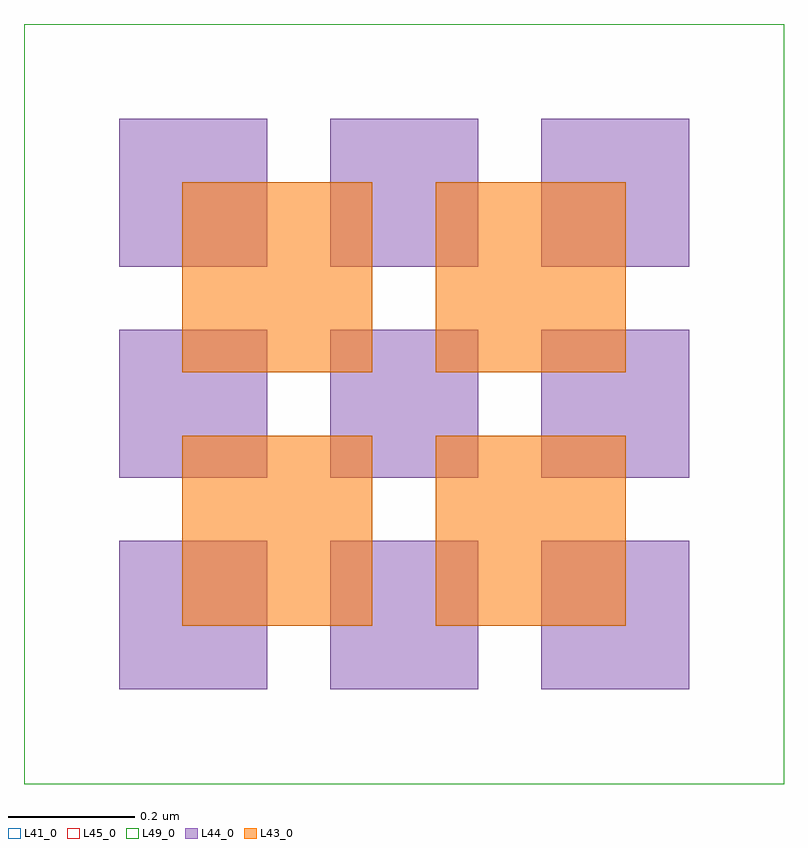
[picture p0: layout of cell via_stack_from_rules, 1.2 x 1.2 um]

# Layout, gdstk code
import gdstk
lib = gdstk.Library(unit=1e-6, precision=1e-09)
def R(c, l, rs):  # rectangles x0, y0, x1, y1
    for r in rs: c.add(gdstk.rectangle(r[:2], r[2:], *l))
L41_0 = (41, 0)
L43_0 = (43, 0)
L44_0 = (44, 0)
L45_0 = (45, 0)
L49_0 = (49, 0)

compass_layerm1_size1p2_ = lib.new_cell('compass_layerM1_size1p2__1p2')
R(compass_layerm1_size1p2_, L41_0, [(-0.6,-0.6,0.6,0.6)])

compass_layerm2_size1p2_ = lib.new_cell('compass_layerM2_size1p2__1p2')
R(compass_layerm2_size1p2_, L45_0, [(-0.6,-0.6,0.6,0.6)])

compass_layermtop_size1p = lib.new_cell('compass_layerMTOP_size1p2__1p2')
R(compass_layermtop_size1p, L49_0, [(-0.6,-0.6,0.6,0.6)])

via_7e75779b = lib.new_cell('via_7e75779b')
R(via_7e75779b, L44_0, [(-0.117,-0.117,0.117,0.117)])

via_d58be9df = lib.new_cell('via_d58be9df')
R(via_d58be9df, L43_0, [(-0.15,-0.15,0.15,0.15)])

via_stack_from_rules = lib.new_cell('via_stack_from_rules')
via_stack_from_rules.add(gdstk.Reference(compass_layerm1_size1p2_, (0,0)))
via_stack_from_rules.add(gdstk.Reference(compass_layerm2_size1p2_, (0,0)))
via_stack_from_rules.add(gdstk.Reference(compass_layermtop_size1p, (0,0)))
r = gdstk.Reference(via_7e75779b, (-0.333,-0.333)); r.repetition = gdstk.Repetition(3, 3, v1=(0.3333,0), v2=(0,0.3333)); via_stack_from_rules.add(r)
r = gdstk.Reference(via_d58be9df, (-0.2,-0.2)); r.repetition = gdstk.Repetition(2, 2, v1=(0.4,0), v2=(0,0.4)); via_stack_from_rules.add(r)

lib.write_gds('via_stack_from_rules.gds')
